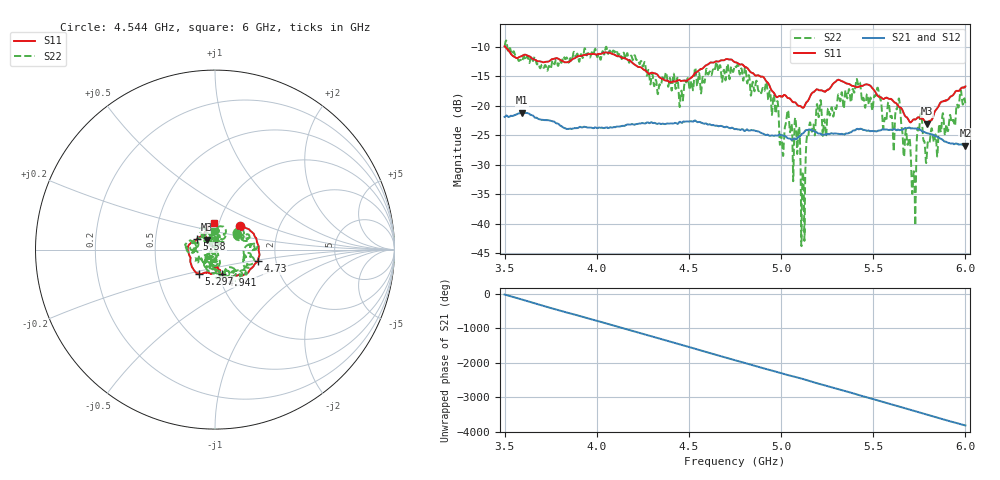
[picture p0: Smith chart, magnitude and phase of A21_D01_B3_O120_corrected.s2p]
! Created with skrf 1.9.0 (http://scikit-rf.org).
# Hz S RI R 50.0
!freq ReS11 ImS11 ReS21 ImS21 ReS12 ImS12 ReS22 ImS22
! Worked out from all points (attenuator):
!   1601 points, 3.5 GHz to 6 GHz, reference 50 ohm
!   highest |S21| = -21.15 dB at 3.592 GHz (marker M1); lowest = -26.7 dB at 6 GHz (marker M2)
!   lowest |S11| = -23.0 dB at 5.791 GHz (marker M3), VSWR 1.15, Z = 45.4 + j4.99 ohm
!   |S11| at or under -10 dB: 3.504 GHz to end of sweep
!   |S22| runs from -43.8 to -8.9 dB; largest |S21 - S12| = 0.0012
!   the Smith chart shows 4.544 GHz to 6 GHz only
!   S11 on the Smith chart (normalised r, x): 4.544 GHz: 1.27, +0.35; 4.73 GHz: 1.61, -0.22; 4.941 GHz: 1.04, -0.29; 5.297 GHz: 0.81, -0.22; 5.58 GHz: 0.81, +0.10; 6 GHz: 0.95, +0.28
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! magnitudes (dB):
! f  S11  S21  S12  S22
! 3.5 GHz  -9.9  -21.9  -21.9  -10.0
! 3.592 GHz  -11.6  -21.2  -21.2  -12.5
! 3.917 GHz  -11.5  -23.7  -23.7  -11.3
! 4.334 GHz  -14.9  -23.0  -23.0  -17.5
! 4.544 GHz  -14.2  -22.7  -22.8  -16.6
! 4.73 GHz  -12.1  -23.7  -23.7  -13.3
! 4.75 GHz  -12.6  -24.0  -23.9  -13.2
! 4.941 GHz  -16.9  -25.1  -25.1  -17.6
! 5.003 GHz  -18.4  -25.0  -25.1  -25.4
! 5.088 GHz  -19.8  -25.5  -25.5  -28.2
! 5.119 GHz  -20.3  -24.7  -24.6  -31.2
! 5.145 GHz  -19.2  -24.1  -24.1  -25.0
! 5.167 GHz  -17.9  -24.2  -24.1  -24.4
! 5.297 GHz  -15.9  -24.7  -24.7  -20.5
! 5.417 GHz  -16.8  -23.9  -24.0  -16.4
! 5.58 GHz  -18.7  -24.1  -24.1  -19.6
! 5.584 GHz  -18.8  -24.1  -24.1  -19.4
! 5.638 GHz  -20.1  -24.1  -24.1  -18.8
! 5.719 GHz  -22.3  -23.8  -23.8  -31.4
! 5.752 GHz  -22.0  -24.0  -24.0  -23.1
! 5.791 GHz  -23.0  -24.6  -24.6  -28.4
! 6 GHz  -16.7  -26.7  -26.7  -19.8
